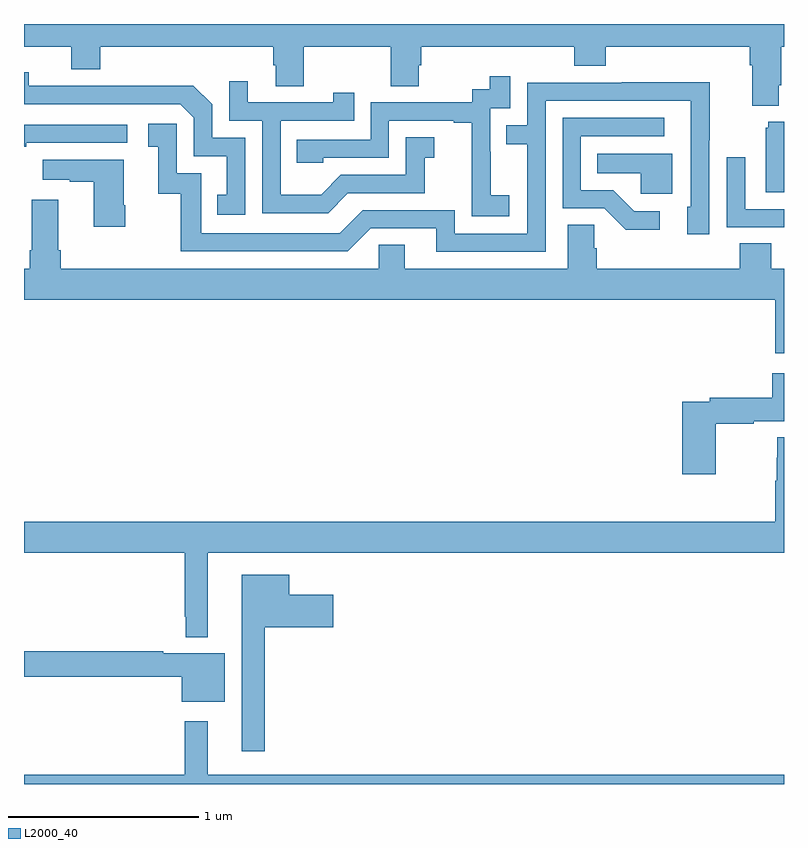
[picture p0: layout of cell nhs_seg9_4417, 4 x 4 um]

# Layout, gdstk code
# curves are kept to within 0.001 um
import gdstk
lib = gdstk.Library(unit=1e-6, precision=1e-09)
def P(c, l, *ps):  # polygons
    for p in ps: c.add(gdstk.Polygon(p, *l))
L2000_40 = (2000, 40)

nhs_seg9_4417 = lib.new_cell('nhs_seg9_4417')
P(nhs_seg9_4417, L2000_40, [(366.973,1236.178),(366.986,1236.178),(366.986,1236.38),(367,1236.38),(367,1236.5),(363,1236.5),(363,1236.38),(363.248,1236.38),(363.248,1236.263),(363.401,1236.263),(363.401,1236.38),(364.313,1236.38),(364.313,1236.282),(364.325,1236.282),(364.325,1236.172),(364.473,1236.172),(364.473,1236.38),(364.93,1236.38),(364.93,1236.172),(365.077,1236.172),(365.077,1236.282),(365.09,1236.282),(365.09,1236.38),(365.897,1236.38),(365.897,1236.281),(366.062,1236.281),(366.062,1236.38),(366.821,1236.38),(366.821,1236.284),(366.833,1236.284),(366.833,1236.071),(366.973,1236.071)],
  [(364.164,1235.901),(363.99,1235.901),(363.99,1236.078),(363.892,1236.176),(363.484,1236.176),(363.484,1236.174),(363.024,1236.174),(363.024,1236.247),(363,1236.247),(363,1236.078),(363.822,1236.078),(363.894,1236.006),(363.894,1235.805),(364.067,1235.805),(364.067,1235.601),(364.018,1235.601),(364.018,1235.496),(364.164,1235.496)],
  [(365.554,1235.599),(365.456,1235.599),(365.456,1235.828),(365.454,1235.828),(365.454,1236.057),(365.559,1236.057),(365.559,1236.226),(365.451,1236.226),(365.451,1236.156),(365.358,1236.156),(365.358,1236.087),(364.824,1236.087),(364.824,1235.892),(364.435,1235.892),(364.435,1235.769),(364.575,1235.769),(364.575,1235.796),(364.92,1235.796),(364.92,1235.991),(365.261,1235.991),(365.261,1235.979),(365.357,1235.979),(365.357,1235.695),(365.356,1235.695),(365.356,1235.489),(365.554,1235.489)],
  [(364.705,1235.61),(365.109,1235.61),(365.109,1235.795),(365.158,1235.795),(365.158,1235.905),(365.01,1235.905),(365.01,1235.706),(364.668,1235.706),(364.564,1235.602),(364.35,1235.602),(364.35,1235.991),(364.739,1235.991),(364.739,1236.139),(364.628,1236.139),(364.628,1236.087),(364.177,1236.087),(364.177,1236.199),(364.08,1236.199),(364.08,1235.991),(364.254,1235.991),(364.254,1235.505),(364.6,1235.505)],
  [(365.745,1236.096),(366.509,1236.096),(366.51,1235.538),(366.491,1235.538),(366.491,1235.394),(366.606,1235.394),(366.606,1235.887),(366.609,1235.887),(366.609,1236.194),(366.145,1236.194),(366.145,1236.192),(365.649,1236.192),(365.649,1235.967),(365.539,1235.967),(365.539,1235.866),(365.649,1235.866),(365.649,1235.397),(365.268,1235.397),(365.268,1235.52),(364.782,1235.52),(364.662,1235.4),(363.933,1235.4),(363.933,1235.715),(363.804,1235.715),(363.804,1235.974),(363.654,1235.974),(363.654,1235.853),(363.707,1235.853),(363.707,1235.607),(363.825,1235.607),(363.825,1235.304),(364.704,1235.304),(364.824,1235.424),(365.171,1235.424),(365.171,1235.301),(365.745,1235.301)],
  [(366.346,1235.514),(366.211,1235.514),(366.1,1235.625),(365.931,1235.625),(365.931,1235.91),(366.37,1235.91),(366.37,1236.006),(365.835,1236.006),(365.835,1235.529),(366.054,1235.529),(366.167,1235.417),(366.346,1235.417)],
  [(367,1235.986),(366.917,1235.986),(366.917,1235.955),(366.905,1235.955),(366.905,1235.615),(367,1235.615)],
  [(363.011,1235.874),(363.544,1235.874),(363.544,1235.97),(363,1235.97),(363,1235.854),(363.011,1235.854)],
  [(366.412,1235.818),(366.016,1235.818),(366.016,1235.714),(366.247,1235.714),(366.247,1235.606),(366.412,1235.606)],
  [(367,1235.526),(366.795,1235.526),(366.795,1235.8),(366.699,1235.8),(366.699,1235.43),(367,1235.43)],
  [(363.534,1235.545),(363.526,1235.545),(363.526,1235.785),(363.099,1235.785),(363.099,1235.681),(363.242,1235.681),(363.242,1235.671),(363.368,1235.671),(363.368,1235.433),(363.534,1235.433)],
  [(367,1235.212),(366.932,1235.212),(366.932,1235.345),(366.767,1235.345),(366.767,1235.212),(366.014,1235.212),(366.014,1235.321),(366,1235.321),(366,1235.444),(365.861,1235.444),(365.861,1235.212),(365.005,1235.212),(365.005,1235.339),(364.866,1235.339),(364.866,1235.212),(363.194,1235.212),(363.194,1235.308),(363.181,1235.308),(363.181,1235.575),(363.041,1235.575),(363.041,1235.308),(363.029,1235.308),(363.029,1235.212),(363,1235.212),(363,1235.048),(366.954,1235.048),(366.954,1234.767),(367,1234.767)],
  [(366.642,1234.396),(366.842,1234.396),(366.842,1234.409),(367,1234.409),(367,1234.663),(366.938,1234.663),(366.938,1234.532),(366.61,1234.532),(366.61,1234.512),(366.464,1234.512),(366.464,1234.131),(366.642,1234.131)],
  [(363.967,1233.716),(367,1233.716),(367,1234.324),(366.964,1234.324),(366.964,1234.217),(366.961,1234.217),(366.961,1234.097),(366.954,1234.097),(366.954,1233.88),(363,1233.88),(363,1233.716),(363.846,1233.716),(363.846,1233.379),(363.852,1233.379),(363.852,1233.272),(363.967,1233.272)],
  [(364.267,1233.326),(364.627,1233.326),(364.627,1233.496),(364.396,1233.496),(364.396,1233.601),(364.145,1233.601),(364.145,1232.673),(364.267,1232.673)],
  [(364.057,1233.187),(363.734,1233.187),(363.734,1233.2),(363,1233.2),(363,1233.064),(363.83,1233.064),(363.83,1232.933),(364.057,1232.933)],
  [(367,1232.548),(363.967,1232.548),(363.967,1232.83),(363.846,1232.83),(363.846,1232.548),(363,1232.548),(363,1232.5),(367,1232.5)])

lib.write_gds('nhs_seg9_4417.gds')
